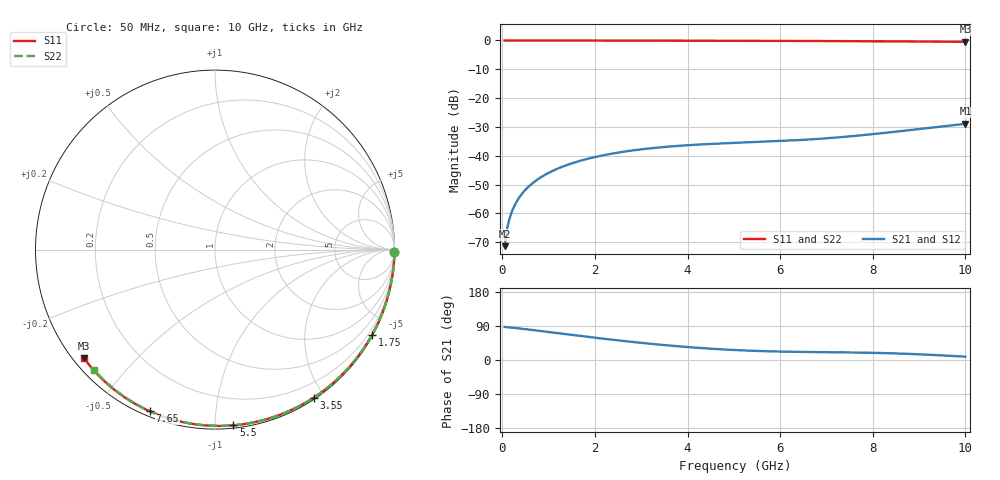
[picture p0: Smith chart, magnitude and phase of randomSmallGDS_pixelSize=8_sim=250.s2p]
! freq	dB(S11)	phase(S11)	dB(S12)	phase(S12)
!  dB(S21)	phase(S21)	dB(S22)	phase(S22)
!S-par simulation data
#  GHz  S  DB  R 50
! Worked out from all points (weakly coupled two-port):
!   200 points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, 50 MHz to 10 GHz, reference 50 ohm
!   highest |S21| = -28.92 dB at 10 GHz (marker M1); lowest = -71.4 dB at 50 MHz (marker M2)
!   lowest |S11| = -0.5 dB at 10 GHz (marker M3), VSWR 37.26, Z = 1.52 - j18 ohm
!   |S11| at or under -10 dB: nowhere
!   |S22| runs from -0.4 to 0.0 dB; largest |S21 - S12| = 0
!   S11 on the Smith chart (normalised r, x): 50 MHz: open; 1.75 GHz: 0.03, -3.94; 3.55 GHz: 0.02, -1.87; 5.5 GHz: 0.02, -1.11; 7.65 GHz: 0.02, -0.68; 10 GHz: 0.03, -0.36
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0.05  -0.00 -0.8  -71.36 87.5  -71.36 87.5  -0.00 -0.8
0.1  -0.00 -1.7  -65.53 86.5  -65.53 86.5  -0.00 -1.6
0.15  -0.00 -2.5  -62.11 86.0  -62.11 86.0  -0.00 -2.4
0.2  -0.00 -3.3  -59.66 85.5  -59.66 85.5  -0.00 -3.2
0.25  -0.00 -4.1  -57.76 84.9  -57.76 84.9  -0.00 -4.0
0.35  -0.00 -5.8  -54.87 83.5  -54.87 83.5  -0.00 -5.6
0.5  -0.01 -8.3  -51.81 81.4  -51.81 81.4  -0.01 -7.9
0.7  -0.01 -11.5  -48.94 78.4  -48.94 78.4  -0.01 -11.1
1  -0.02 -16.4  -45.94 73.8  -45.94 73.8  -0.02 -15.8
1.35  -0.03 -22.1  -43.48 68.4  -43.48 68.4  -0.03 -21.2
1.75  -0.04 -28.5  -41.45 62.4  -41.45 62.4  -0.03 -27.4
2.5  -0.05 -40.3  -38.90 51.8  -38.90 51.8  -0.05 -38.7
3.4  -0.07 -54.0  -37.10 40.5  -37.10 40.5  -0.07 -52.0
3.55  -0.08 -56.3  -36.88 38.8  -36.88 38.8  -0.07 -54.1
4.3  -0.10 -67.3  -36.06 31.5  -36.06 31.5  -0.09 -64.7
5.05  -0.12 -77.8  -35.51 26.1  -35.51 26.1  -0.11 -75.0
5.5  -0.14 -84.0  -35.23 23.9  -35.23 23.9  -0.13 -80.9
6.7  -0.19 -99.9  -34.28 21.0  -34.28 21.0  -0.18 -96.2
7.65  -0.25 -111.9  -33.06 19.7  -33.06 19.7  -0.24 -107.8
8.35  -0.30 -120.5  -31.90 17.9  -31.90 17.9  -0.29 -116.1
9.2  -0.38 -130.8  -30.37 13.9  -30.37 13.9  -0.37 -125.9
10  -0.47 -140.4  -28.92 8.8  -28.92 8.8  -0.45 -135.1
